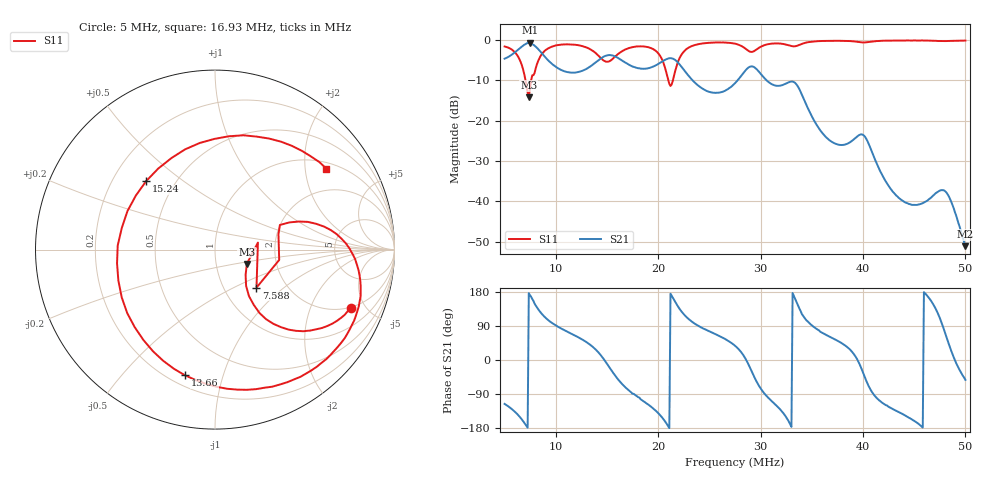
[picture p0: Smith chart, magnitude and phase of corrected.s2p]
! S11/S21 only; reverse parameters are placeholders. Device calibration unverified.
! [Saver CAL applied] C:\Users\aknya\MyProjects\rf-simulator\calibration2.cal | Ideal standards assumed | Input: NanoVNA F V2 profile | COM3 | 2026-09-08T10:30:46.9486440-04:00 | device calibration unverified
# HZ S RI R 50
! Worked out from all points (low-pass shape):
!   401 points, 5 MHz to 50 MHz, reference 50 ohm
!   highest |S21| = -0.74 dB at 7.475 MHz (marker M1); lowest = -51.1 dB at 50 MHz (marker M2)
!   |S21| within 3 dB of the highest: 5.689 MHz to 8.755 MHz (3.066 MHz wide, 42.4 % of centre)
!   lowest |S11| = -14.2 dB at 7.362 MHz (marker M3), VSWR 1.48, Z = 70.4 - j11.6 ohm
!   |S11| at or under -10 dB: 7.035 MHz to 7.594 MHz (559.1 kHz wide, 7.64 % of centre); 20.98 MHz to 21.44 MHz (464.3 kHz wide, 2.19 % of centre)
!   S12 and S22 are empty: the file has one direction only
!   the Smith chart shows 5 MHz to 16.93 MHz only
!   S11 on the Smith chart (normalised r, x): 5 MHz: 1.95, -3.93; 7.588 MHz: 1.42, -0.67; 13.66 MHz: 0.26, -0.75; 15.24 MHz: 0.34, +0.37; 16.93 MHz: 1.19, +2.60
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5000000  0.7559 -0.3256  -0.2538 -0.5226  0 0  0 0
7362500  0.1773 -0.0795  -0.9163 0.056  0 0  0 0
7475000  0.2392 0.039  -0.9072 0.141  0 0  0 0
7587500  0.2312 -0.2121  -0.8668 0.2007  0 0  0 0
9837500  0.8115 -0.2015  -0.0331 0.4767  0 0  0 0
1.25375e7  0.3614 -0.7517  0.2364 0.3347  0 0  0 0
1.36625e7  -0.1684 -0.6996  0.4145 0.2734  0 0  0 0
1.52375e7  -0.3834 0.3818  0.6075 -0.2159  0 0  0 0
1.6925e7  0.6212 0.4502  0.1285 -0.4908  0 0  0 0
1.86125e7  0.8107 -0.1409  -0.1464 -0.4111  0 0  0 0
2.0075e7  0.3616 -0.5524  -0.4002 -0.3104  0 0  0 0
2.12e7  -0.2676 -0.00904  -0.588 0.0522  0 0  0 0
2.22125e7  0.2767 0.5692  -0.3052 0.3608  0 0  0 0
2.40125e7  0.8548 0.2257  0.00639 0.2642  0 0  0 0
2.75e7  0.8362 -0.3109  0.2289 0.177  0 0  0 0
2.98625e7  0.7635 -0.2263  0.1421 -0.3715  0 0  0 0
3.30125e7  0.7052 -0.4446  -0.303 -0.0186  0 0  0 0
3.50375e7  0.7783 -0.5345  -0.0011 0.1105  0 0  0 0
4.01e7  0.5692 -0.7254  0.0499 -0.0418  0 0  0 0
4.2575e7  0.518 -0.8218  -0.00855 -0.0124  0 0  0 0
4.7975e7  0.2972 -0.9103  0.00347 0.0131  0 0  0 0
5e7  0.2327 -0.945  0.00171 -0.00222  0 0  0 0
